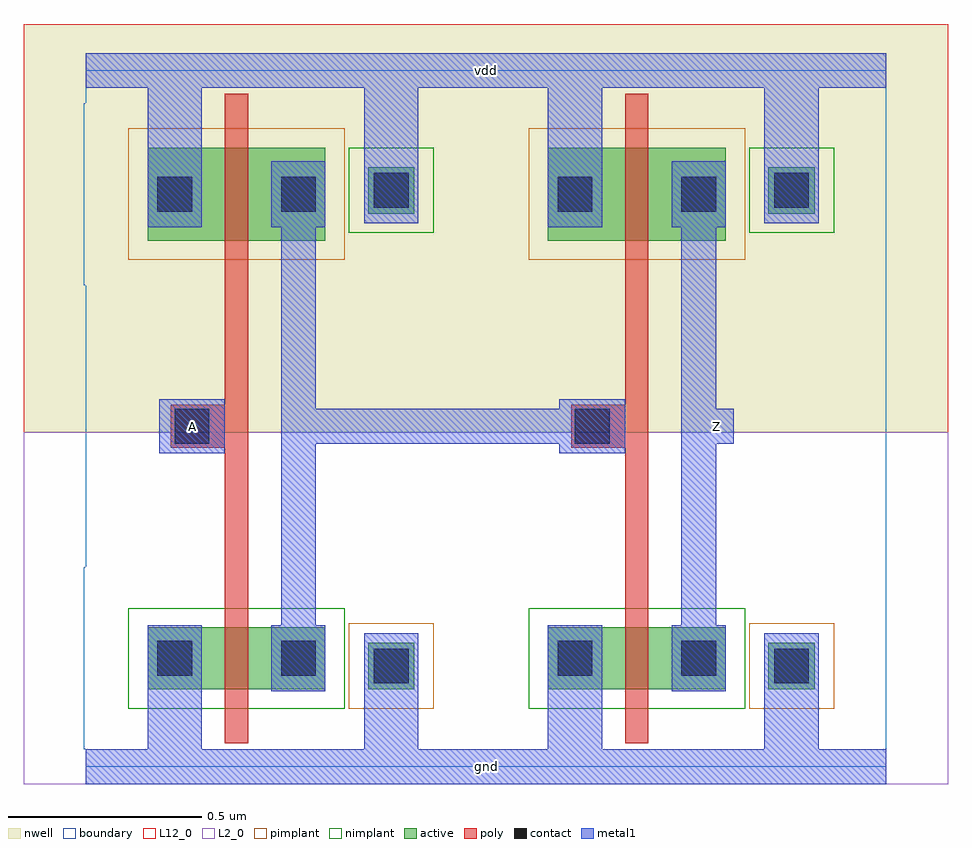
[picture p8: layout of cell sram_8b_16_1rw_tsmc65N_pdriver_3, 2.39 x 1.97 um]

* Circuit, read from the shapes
.subckt sram_8b_16_1rw_tsmc65N_pdriver_3 A Z gnd vdd
M1 sram_8b_16_1rw_tsmc65N_pinv_5_1/A A gnd gnd nfet w=0.16u l=0.06u
M2 Z sram_8b_16_1rw_tsmc65N_pinv_5_1/A gnd gnd nfet w=0.16u l=0.06u
M3 sram_8b_16_1rw_tsmc65N_pinv_5_1/A A vdd vdd pfet w=0.24u l=0.06u
M4 Z sram_8b_16_1rw_tsmc65N_pinv_5_1/A vdd vdd pfet w=0.24u l=0.06u
.ends

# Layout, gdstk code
import gdstk
lib = gdstk.Library(unit=1e-6, precision=1e-09)
def R(c, l, rs):  # rectangles x0, y0, x1, y1
    for r in rs: c.add(gdstk.rectangle(r[:2], r[2:], *l))
L2_0 = (2, 0)
nwell = (3, 0)
active = (6, 0)
L12_0 = (12, 0)
poly = (17, 0)
pimplant = (25, 0)
nimplant = (26, 0)
contact = (30, 0)
metal1 = (31, 0)
boundary = (108, 0)

sram_8b_16_1rw_tsmc65n_c = lib.new_cell('sram_8b_16_1rw_tsmc65N_contact_11')
R(sram_8b_16_1rw_tsmc65n_c, nwell, [(-0.165,-0.15,0.305,0.32)])
R(sram_8b_16_1rw_tsmc65n_c, active, [(0.01,0.025,0.13,0.145)])
R(sram_8b_16_1rw_tsmc65n_c, pimplant, [(-0.04,-0.025,0.18,0.195)])
R(sram_8b_16_1rw_tsmc65n_c, contact, [(0.025,0.04,0.115,0.13)])
R(sram_8b_16_1rw_tsmc65n_c, metal1, [(0,0,0.14,0.17)])
R(sram_8b_16_1rw_tsmc65n_c, boundary, [(-0.165,-0.15,0.305,0.32)])

sram_8b_16_1rw_tsmc65n_p = lib.new_cell('sram_8b_16_1rw_tsmc65N_pmos_m1_w0_240_sm1_dm1_da_p')
R(sram_8b_16_1rw_tsmc65n_p, nwell, [(-0.16,-0.16,0.62,0.4)])
R(sram_8b_16_1rw_tsmc65n_p, active, [(0,0,0.46,0.24)])
R(sram_8b_16_1rw_tsmc65n_p, L12_0, [(-0.16,-0.16,0.62,0.4)])
R(sram_8b_16_1rw_tsmc65n_p, poly, [(0.2,-0.14,0.26,0.38), (0.2,-0.14,0.26,0.38)])
R(sram_8b_16_1rw_tsmc65n_p, pimplant, [(-0.05,-0.05,0.51,0.29)])
R(sram_8b_16_1rw_tsmc65n_p, metal1, [(0,0.035,0.14,0.205), (0.32,0.035,0.46,0.205)])
R(sram_8b_16_1rw_tsmc65n_p, boundary, [(-0.16,-0.16,0.62,0.4)])
sram_8b_16_1rw_tsmc65n_p.add(gdstk.Reference(sram_8b_16_1rw_tsmc65n_c, (0,0.035)))
sram_8b_16_1rw_tsmc65n_p.add(gdstk.Reference(sram_8b_16_1rw_tsmc65n_c, (0.32,0.035)))
sram_8b_16_1rw_tsmc65n_p.add(gdstk.Label('G', (0.23,0.12), layer=17, texttype=0))
sram_8b_16_1rw_tsmc65n_p.add(gdstk.Label('S', (0.07,0.12), layer=31, texttype=0))
sram_8b_16_1rw_tsmc65n_p.add(gdstk.Label('D', (0.39,0.12), layer=31, texttype=0))

c_sram_8b_16_1rw_tsmc65n_c = lib.new_cell('sram_8b_16_1rw_tsmc65N_contact_10')
R(c_sram_8b_16_1rw_tsmc65n_c, L2_0, [(-0.165,-0.15,0.305,0.32)])
R(c_sram_8b_16_1rw_tsmc65n_c, active, [(0.01,0.025,0.13,0.145)])
R(c_sram_8b_16_1rw_tsmc65n_c, nimplant, [(-0.04,-0.025,0.18,0.195)])
R(c_sram_8b_16_1rw_tsmc65n_c, contact, [(0.025,0.04,0.115,0.13)])
R(c_sram_8b_16_1rw_tsmc65n_c, metal1, [(0,0,0.14,0.17)])
R(c_sram_8b_16_1rw_tsmc65n_c, boundary, [(-0.165,-0.15,0.305,0.32)])

sram_8b_16_1rw_tsmc65n_n = lib.new_cell('sram_8b_16_1rw_tsmc65N_nmos_m1_w0_160_sm1_dm1_da_p')
R(sram_8b_16_1rw_tsmc65n_n, L2_0, [(-0.16,-0.16,0.62,0.32)])
R(sram_8b_16_1rw_tsmc65n_n, active, [(0,0,0.46,0.16)])
R(sram_8b_16_1rw_tsmc65n_n, L12_0, [(-0.16,-0.16,0.62,0.32)])
R(sram_8b_16_1rw_tsmc65n_n, poly, [(0.2,-0.14,0.26,0.3), (0.2,-0.14,0.26,0.3)])
R(sram_8b_16_1rw_tsmc65n_n, nimplant, [(-0.05,-0.05,0.51,0.21)])
R(sram_8b_16_1rw_tsmc65n_n, metal1, [(0,-0.005,0.14,0.165), (0.32,-0.005,0.46,0.165)])
R(sram_8b_16_1rw_tsmc65n_n, boundary, [(-0.16,-0.16,0.62,0.32)])
sram_8b_16_1rw_tsmc65n_n.add(gdstk.Reference(c_sram_8b_16_1rw_tsmc65n_c, (0,-0.005)))
sram_8b_16_1rw_tsmc65n_n.add(gdstk.Reference(c_sram_8b_16_1rw_tsmc65n_c, (0.32,-0.005)))
sram_8b_16_1rw_tsmc65n_n.add(gdstk.Label('G', (0.23,0.08), layer=17, texttype=0))
sram_8b_16_1rw_tsmc65n_n.add(gdstk.Label('S', (0.07,0.08), layer=31, texttype=0))
sram_8b_16_1rw_tsmc65n_n.add(gdstk.Label('D', (0.39,0.08), layer=31, texttype=0))

c_sram_8b_16_1rw_tsmc65n_c_ = lib.new_cell('sram_8b_16_1rw_tsmc65N_contact_12')
R(c_sram_8b_16_1rw_tsmc65n_c_, nwell, [(-0.165,-0.15,0.305,0.32)])
R(c_sram_8b_16_1rw_tsmc65n_c_, active, [(0.01,0.025,0.13,0.145)])
R(c_sram_8b_16_1rw_tsmc65n_c_, nimplant, [(-0.04,-0.025,0.18,0.195)])
R(c_sram_8b_16_1rw_tsmc65n_c_, contact, [(0.025,0.04,0.115,0.13)])
R(c_sram_8b_16_1rw_tsmc65n_c_, metal1, [(0,0,0.14,0.17)])
R(c_sram_8b_16_1rw_tsmc65n_c_, boundary, [(-0.165,-0.15,0.305,0.32)])

c_sram_8b_16_1rw_tsmc65n_c__ = lib.new_cell('sram_8b_16_1rw_tsmc65N_contact_13')
R(c_sram_8b_16_1rw_tsmc65n_c__, L2_0, [(-0.165,-0.15,0.305,0.32)])
R(c_sram_8b_16_1rw_tsmc65n_c__, active, [(0.01,0.025,0.13,0.145)])
R(c_sram_8b_16_1rw_tsmc65n_c__, pimplant, [(-0.04,-0.025,0.18,0.195)])
R(c_sram_8b_16_1rw_tsmc65n_c__, contact, [(0.025,0.04,0.115,0.13)])
R(c_sram_8b_16_1rw_tsmc65n_c__, metal1, [(0,0,0.14,0.17)])
R(c_sram_8b_16_1rw_tsmc65n_c__, boundary, [(-0.165,-0.15,0.305,0.32)])

c_sram_8b_16_1rw_tsmc65n_c___ = lib.new_cell('sram_8b_16_1rw_tsmc65N_contact_14')
R(c_sram_8b_16_1rw_tsmc65n_c___, poly, [(0.03,0.015,0.14,0.125)])
R(c_sram_8b_16_1rw_tsmc65n_c___, contact, [(0.04,0.025,0.13,0.115)])
R(c_sram_8b_16_1rw_tsmc65n_c___, metal1, [(0,0,0.17,0.14)])
R(c_sram_8b_16_1rw_tsmc65n_c___, boundary, [(0,0,0.17,0.14)])

c_sram_8b_16_1rw_tsmc65n_p = lib.new_cell('sram_8b_16_1rw_tsmc65N_pinv_5')
R(c_sram_8b_16_1rw_tsmc65n_p, L2_0, [(-0.16,-0.045,1.195,0.865)])
R(c_sram_8b_16_1rw_tsmc65n_p, nwell, [(-0.16,0.865,1.195,1.92)])
R(c_sram_8b_16_1rw_tsmc65n_p, L12_0, [(-0.16,-0.045,1.195,0.865), (-0.16,0.865,1.195,1.92)])
R(c_sram_8b_16_1rw_tsmc65n_p, poly, [(0.36,0.5,0.42,1.22), (0.275,0.825,0.36,0.935)])
R(c_sram_8b_16_1rw_tsmc65n_p, metal1, [(0,-0.045,1.035,0.045), (0.16,-0.045,0.3,0.195), (0.72,0,0.86,0.26), (0.505,0.195,0.595,1.565), (0.19,0.81,0.36,0.95), (0.55,0.835,0.64,0.925), (0.16,1.395,0.3,1.845), (0.72,1.49,0.86,1.8), (0,1.755,1.035,1.845)])
R(c_sram_8b_16_1rw_tsmc65n_p, boundary, [(0,0,1.035,1.8), (0,0,1.035,1.8)])
c_sram_8b_16_1rw_tsmc65n_p.add(gdstk.Reference(sram_8b_16_1rw_tsmc65n_p, (0.16,1.36)))
c_sram_8b_16_1rw_tsmc65n_p.add(gdstk.Reference(sram_8b_16_1rw_tsmc65n_n, (0.16,0.2)))
c_sram_8b_16_1rw_tsmc65n_p.add(gdstk.Reference(c_sram_8b_16_1rw_tsmc65n_c_, (0.72,1.405)))
c_sram_8b_16_1rw_tsmc65n_p.add(gdstk.Reference(c_sram_8b_16_1rw_tsmc65n_c__, (0.72,0.175)))
c_sram_8b_16_1rw_tsmc65n_p.add(gdstk.Reference(c_sram_8b_16_1rw_tsmc65n_c___, (0.19,0.81)))
c_sram_8b_16_1rw_tsmc65n_p.add(gdstk.Label('A', (0.275,0.88), layer=31, texttype=0))
c_sram_8b_16_1rw_tsmc65n_p.add(gdstk.Label('Z', (0.595,0.88), layer=31, texttype=0))
c_sram_8b_16_1rw_tsmc65n_p.add(gdstk.Label('gnd', (0.518,0), layer=31, texttype=0))
c_sram_8b_16_1rw_tsmc65n_p.add(gdstk.Label('vdd', (0.518,1.8), layer=31, texttype=0))

c_sram_8b_16_1rw_tsmc65n_p_ = lib.new_cell('sram_8b_16_1rw_tsmc65N_pdriver_3')
R(c_sram_8b_16_1rw_tsmc65n_p_, L2_0, [(-0.16,-0.045,2.23,0.865)])
R(c_sram_8b_16_1rw_tsmc65n_p_, nwell, [(-0.16,0.865,2.23,1.92)])
R(c_sram_8b_16_1rw_tsmc65n_p_, L12_0, [(-0.16,-0.045,2.23,0.865), (-0.16,0.865,2.23,1.92)])
R(c_sram_8b_16_1rw_tsmc65n_p_, metal1, [(0,-0.045,2.07,0.045), (0.19,0.81,0.36,0.95), (0.595,0.835,1.31,0.925), (1.585,0.835,1.675,0.925), (0,1.755,2.07,1.845)])
R(c_sram_8b_16_1rw_tsmc65n_p_, boundary, [(0,0,2.07,1.8), (0,0,2.07,1.8)])
c_sram_8b_16_1rw_tsmc65n_p_.add(gdstk.Reference(c_sram_8b_16_1rw_tsmc65n_p, (0,0)))
c_sram_8b_16_1rw_tsmc65n_p_.add(gdstk.Reference(c_sram_8b_16_1rw_tsmc65n_p, (1.035,0)))
c_sram_8b_16_1rw_tsmc65n_p_.add(gdstk.Label('Z', (1.63,0.88), layer=31, texttype=0))
c_sram_8b_16_1rw_tsmc65n_p_.add(gdstk.Label('A', (0.275,0.88), layer=31, texttype=0))
c_sram_8b_16_1rw_tsmc65n_p_.add(gdstk.Label('gnd', (1.035,0), layer=31, texttype=0))
c_sram_8b_16_1rw_tsmc65n_p_.add(gdstk.Label('vdd', (1.035,1.8), layer=31, texttype=0))

lib.write_gds('sram_8b_16_1rw_tsmc65N_pdriver_3.gds')
